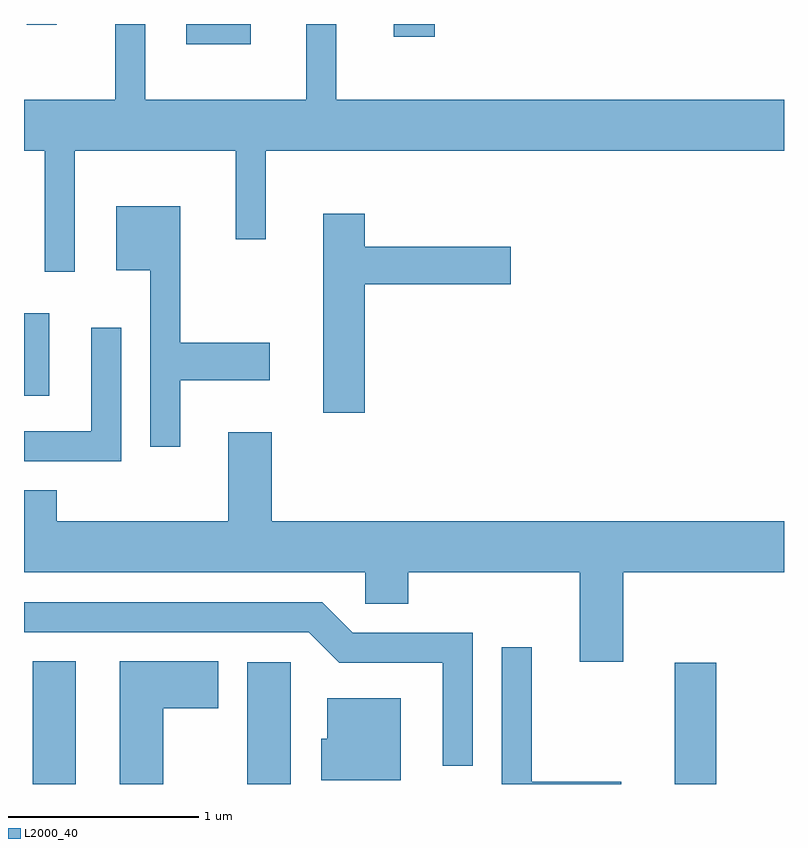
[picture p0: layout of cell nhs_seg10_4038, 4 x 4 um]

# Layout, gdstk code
import gdstk
lib = gdstk.Library(unit=1e-6, precision=1e-09)
def R(c, l, rs):  # rectangles x0, y0, x1, y1
    for r in rs: c.add(gdstk.rectangle(r[:2], r[2:], *l))
def P(c, l, *ps):  # polygons
    for p in ps: c.add(gdstk.Polygon(p, *l))
L2000_40 = (2000, 40)

nhs_seg10_4038 = lib.new_cell('nhs_seg10_4038')
R(nhs_seg10_4038, L2000_40, [(303.656,2170.522,303.884,2171.169), (304.786,2170.522,305.014,2171.164), (307.036,2170.522,307.254,2171.159), (303.611,2172.566,303.744,2172.999), (304.466,2174.416,304.804,2174.522), (305.556,2174.456,305.774,2174.522), (303.626,2174.518,303.784,2174.522)])
P(nhs_seg10_4038, L2000_40, [(304.249,2174.522),(304.091,2174.522),(304.091,2174.124),(303.611,2174.124),(303.611,2173.856),(303.721,2173.856),(303.721,2173.218),(303.879,2173.218),(303.879,2173.856),(304.726,2173.856),(304.726,2173.388),(304.884,2173.388),(304.884,2173.856),(307.611,2173.856),(307.611,2174.124),(305.254,2174.124),(305.254,2174.522),(305.096,2174.522),(305.096,2174.124),(304.249,2174.124)],
  [(304.434,2172.646),(304.904,2172.646),(304.904,2172.844),(304.434,2172.844),(304.434,2173.564),(304.096,2173.564),(304.096,2173.226),(304.276,2173.226),(304.276,2172.298),(304.434,2172.298)],
  [(305.404,2173.151),(306.174,2173.151),(306.174,2173.349),(305.404,2173.349),(305.404,2173.524),(305.186,2173.524),(305.186,2172.476),(305.404,2172.476)],
  [(304.124,2172.923),(303.966,2172.923),(303.966,2172.379),(303.611,2172.379),(303.611,2172.221),(304.124,2172.221)],
  [(306.764,2171.636),(307.611,2171.636),(307.611,2171.904),(304.914,2171.904),(304.914,2172.374),(304.686,2172.374),(304.686,2171.904),(303.784,2171.904),(303.784,2172.069),(303.611,2172.069),(303.611,2171.636),(305.406,2171.636),(305.406,2171.471),(305.634,2171.471),(305.634,2171.636),(306.536,2171.636),(306.536,2171.166),(306.764,2171.166)],
  [(305.974,2171.319),(305.342,2171.319),(305.182,2171.479),(303.611,2171.479),(303.611,2171.321),(305.109,2171.321),(305.269,2171.161),(305.816,2171.161),(305.816,2170.618),(305.974,2170.618)],
  [(306.754,2170.534),(306.284,2170.534),(306.284,2171.243),(306.126,2171.243),(306.126,2170.522),(306.754,2170.522)],
  [(304.344,2170.921),(304.634,2170.921),(304.634,2171.169),(304.116,2171.169),(304.116,2170.522),(304.344,2170.522)],
  [(305.594,2170.974),(305.206,2170.974),(305.206,2170.759),(305.176,2170.759),(305.176,2170.541),(305.594,2170.541)])

lib.write_gds('nhs_seg10_4038.gds')
